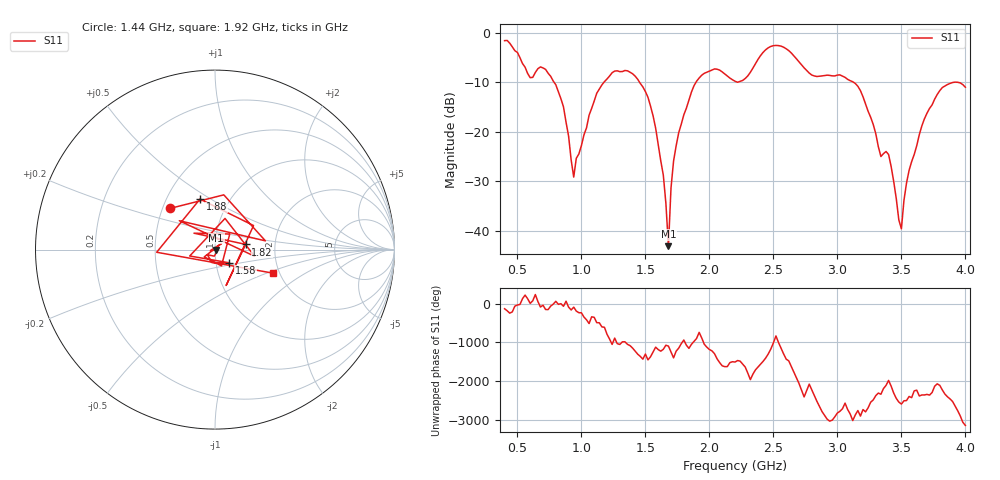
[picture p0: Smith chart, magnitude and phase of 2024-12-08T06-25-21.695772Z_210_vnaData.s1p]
!Created with skrf (http://scikit-rf.org).
# Hz S RI R 50.0
!freq ReS11 ImS11
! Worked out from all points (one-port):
!   181 points, 400 MHz to 4 GHz, reference 50 ohm
!   lowest |S11| = -43.1 dB at 1.68 GHz (marker M1), VSWR 1.01, Z = 50.7 - j0.185 ohm
!   |S11| at or under -10 dB: 787.2 MHz to 1.175 GHz (388.1 MHz wide, 39.5 % of centre); 1.455 GHz to 1.894 GHz (439.4 MHz wide, 26.2 % of centre); 3.128 GHz to 3.906 GHz (778 MHz wide, 22.1 % of centre) (the widest 3 of 4)
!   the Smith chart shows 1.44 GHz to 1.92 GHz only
!   S11 on the Smith chart (normalised r, x): 1.44 GHz: 0.55, +0.28; 1.58 GHz: 1.16, -0.17; 1.82 GHz: 1.41, +0.08; 1.88 GHz: 0.73, +0.45; 1.92 GHz: 1.85, -0.56
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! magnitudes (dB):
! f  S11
! 400 MHz  -1.6
! 600 MHz  -9.0
! 720 MHz  -7.4
! 860 MHz  -14.9
! 940 MHz  -29.1
! 1.12 GHz  -12.2
! 1.3 GHz  -7.8
! 1.44 GHz  -9.4
! 1.58 GHz  -19.2
! 1.64 GHz  -28.8
! 1.68 GHz  -43.1
! 1.7 GHz  -31.4
! 1.76 GHz  -20.2
! 1.82 GHz  -15.2
! 1.88 GHz  -10.6
! 1.92 GHz  -9.1
! 2.2 GHz  -9.8
! 2.48 GHz  -2.7
! 2.66 GHz  -4.6
! 3.1 GHz  -9.6
! 3.2 GHz  -12.9
! 3.34 GHz  -25.0
! 3.4 GHz  -24.6
! 3.5 GHz  -39.6
! 3.56 GHz  -27.8
! 3.68 GHz  -17.4
! 3.8 GHz  -11.7
! 4 GHz  -11.0
